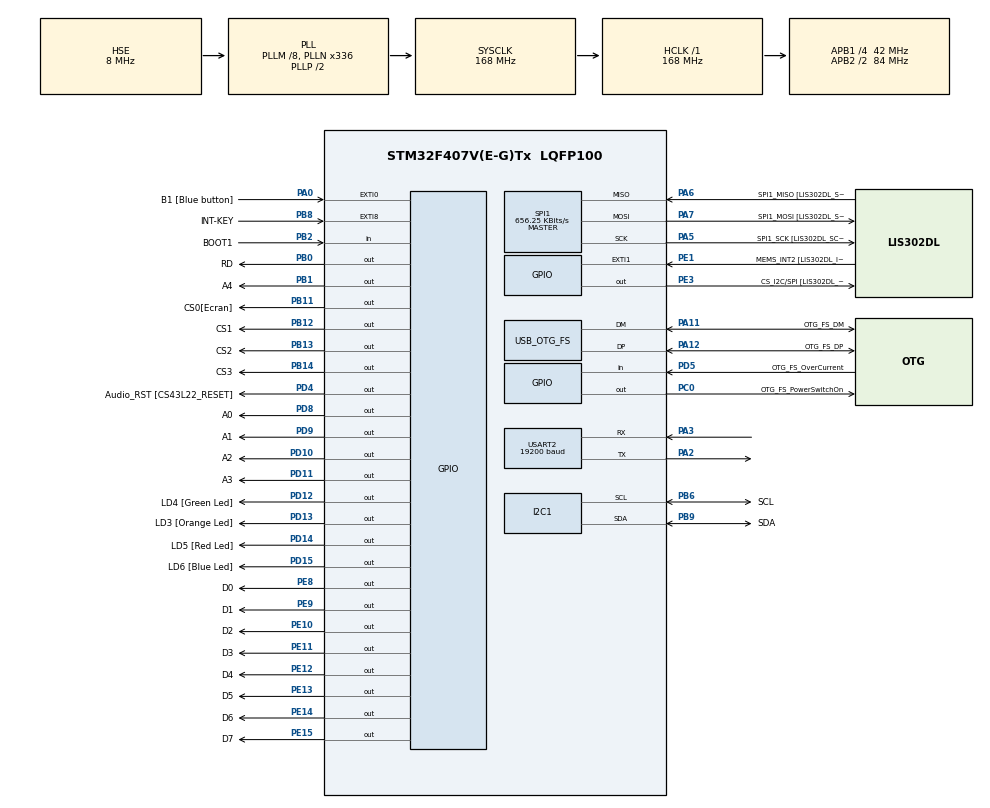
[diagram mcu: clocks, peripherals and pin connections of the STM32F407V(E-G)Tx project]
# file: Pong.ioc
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Mcu.Family=STM32F4
Mcu.Name=STM32F407V(E-G)Tx
Mcu.Package=LQFP100
NVIC.EXTI0_IRQn=true\:0\:0\:false\:false\:true\:true
NVIC.EXTI9_5_IRQn=true\:0\:0\:false\:false\:true\:true
NVIC.OTG_FS_IRQn=true\:0\:0\:false\:false\:true\:true
NVIC.PriorityGroup=NVIC_PRIORITYGROUP_0
PA0-WKUP.GPIO_Label=B1 [Blue button]
PA0-WKUP.Signal=GPXTI0
PA10.GPIO_Label=OTG_FS_ID
PA10.GPIO_Mode=GPIO_MODE_AF_PP
PA10.GPIO_PuPd=GPIO_NOPULL
PA10.GPIO_Speed=GPIO_SPEED_FREQ_LOW
PA10.Signal=USB_OTG_FS_ID
PA11.GPIO_Label=OTG_FS_DM
PA11.GPIO_Mode=GPIO_MODE_AF_PP
PA11.GPIO_PuPd=GPIO_NOPULL
PA11.GPIO_Speed=GPIO_SPEED_FREQ_LOW
PA11.Mode=Device_Only
PA11.Signal=USB_OTG_FS_DM
PA12.GPIO_Label=OTG_FS_DP
PA12.GPIO_Mode=GPIO_MODE_AF_PP
PA12.GPIO_PuPd=GPIO_NOPULL
PA12.GPIO_Speed=GPIO_SPEED_FREQ_LOW
PA12.Mode=Device_Only
PA12.Signal=USB_OTG_FS_DP
PA13.GPIO_Label=SWDIO
PA13.Mode=Trace_Asynchronous_SW
PA13.Signal=SYS_JTMS-SWDIO
PA14.GPIO_Label=SWCLK
PA14.Mode=Trace_Asynchronous_SW
PA14.Signal=SYS_JTCK-SWCLK
PA2.Mode=Asynchronous
PA2.Signal=USART2_TX
PA3.Mode=Asynchronous
PA3.Signal=USART2_RX
PA4.GPIO_Label=I2S3_WS [CS43L22_LRCK]
PA4.GPIO_Mode=GPIO_MODE_AF_PP
PA4.GPIO_PuPd=GPIO_NOPULL
PA4.GPIO_Speed=GPIO_SPEED_FREQ_LOW
PA4.Signal=I2S3_WS
PA5.GPIO_Label=SPI1_SCK [LIS302DL_SCL/SPC]
PA5.GPIO_Mode=GPIO_MODE_AF_PP
PA5.GPIO_PuPd=GPIO_NOPULL
PA5.GPIO_Speed=GPIO_SPEED_FREQ_LOW
PA5.Mode=Full_Duplex_Master
PA5.Signal=SPI1_SCK
PA6.GPIO_Label=SPI1_MISO [LIS302DL_SDO]
PA6.GPIO_Mode=GPIO_MODE_AF_PP
PA6.GPIO_PuPd=GPIO_NOPULL
PA6.GPIO_Speed=GPIO_SPEED_FREQ_LOW
PA6.Mode=Full_Duplex_Master
PA6.Signal=SPI1_MISO
PA7.GPIO_Label=SPI1_MOSI [LIS302DL_SDA/SDI/SDO]
PA7.GPIO_Mode=GPIO_MODE_AF_PP
PA7.GPIO_PuPd=GPIO_NOPULL
PA7.GPIO_Speed=GPIO_SPEED_FREQ_LOW
PA7.Mode=Full_Duplex_Master
PA7.Signal=SPI1_MOSI
PA9.GPIO_Label=VBUS_FS
PA9.GPIO_Mode=GPIO_MODE_INPUT
PA9.GPIO_PuPd=GPIO_NOPULL
PA9.Signal=USB_OTG_FS_VBUS
PB0.GPIO_Label=RD
PB0.Signal=GPIO_Output
PB1.GPIO_Label=A4
PB1.Signal=GPIO_Output
PB10.GPIO_Label=CLK_IN [MP45DT02_CLK]
PB10.GPIO_Mode=GPIO_MODE_AF_PP
PB10.GPIO_PuPd=GPIO_NOPULL
PB10.GPIO_Speed=GPIO_SPEED_FREQ_LOW
PB10.Signal=I2S2_CK
PB11.GPIO_Label=CS0[Ecran]
PB11.Signal=GPIO_Output
PB12.GPIO_Label=CS1
PB12.Signal=GPIO_Output
PB13.GPIO_Label=CS2
PB13.Signal=GPIO_Output
PB14.GPIO_Label=CS3
PB14.Signal=GPIO_Output
PB2.GPIO_Label=BOOT1
PB2.GPIO_Mode=GPIO_MODE_INPUT
PB2.GPIO_PuPd=GPIO_NOPULL
PB2.Signal=GPIO_Input
PB3.GPIO_Label=SWO
PB3.Mode=Trace_Asynchronous_SW
PB3.Signal=SYS_JTDO-SWO
PB6.GPIO_Label=SCL
PB6.GPIO_Mode=GPIO_MODE_AF_OD
PB6.GPIO_PuPd=GPIO_NOPULL
PB6.GPIO_Speed=GPIO_SPEED_FREQ_LOW
PB6.Mode=I2C
PB6.Signal=I2C1_SCL
PB8.GPIO_Label=INT-KEY
PB8.Signal=GPXTI8
PB9.GPIO_Label=SDA
PB9.GPIO_Mode=GPIO_MODE_AF_OD
PB9.GPIO_PuPd=GPIO_NOPULL
PB9.GPIO_Speed=GPIO_SPEED_FREQ_LOW
PB9.Mode=I2C
PB9.Signal=I2C1_SDA
PC0.GPIO_Label=OTG_FS_PowerSwitchOn
PC0.GPIO_PuPd=GPIO_NOPULL
PC0.GPIO_Speed=GPIO_SPEED_FREQ_LOW
PC0.PinState=GPIO_PIN_SET
PC0.Signal=GPIO_Output
PC10.GPIO_Label=I2S3_SCK [CS43L22_SCLK]
PC10.GPIO_Mode=GPIO_MODE_AF_PP
PC10.GPIO_PuPd=GPIO_NOPULL
PC10.GPIO_Speed=GPIO_SPEED_FREQ_LOW
PC10.Signal=I2S3_CK
PC12.GPIO_Label=I2S3_SD [CS43L22_SDIN]
PC12.GPIO_Mode=GPIO_MODE_AF_PP
PC12.GPIO_PuPd=GPIO_NOPULL
PC12.GPIO_Speed=GPIO_SPEED_FREQ_LOW
PC12.Signal=I2S3_SD
PC14-OSC32_IN.GPIO_Label=PC14-OSC32_IN
PC14-OSC32_IN.Signal=RCC_OSC32_IN
PC15-OSC32_OUT.GPIO_Label=PC15-OSC32_OUT
PC15-OSC32_OUT.Signal=RCC_OSC32_OUT
PC3.GPIO_Label=PDM_OUT [MP45DT02_DOUT]
PC3.GPIO_Mode=GPIO_MODE_AF_PP
PC3.GPIO_PuPd=GPIO_NOPULL
PC3.GPIO_Speed=GPIO_SPEED_FREQ_LOW
PC3.Signal=I2S2_SD
PC7.GPIO_Label=I2S3_MCK [CS43L22_MCLK]
PC7.GPIO_Mode=GPIO_MODE_AF_PP
PC7.GPIO_PuPd=GPIO_NOPULL
PC7.GPIO_Speed=GPIO_SPEED_FREQ_LOW
PC7.Signal=I2S3_MCK
PD10.GPIO_Label=A2
PD10.Signal=GPIO_Output
PD11.GPIO_Label=A3
PD11.Signal=GPIO_Output
PD12.GPIO_Label=LD4 [Green Led]
PD12.GPIO_PuPd=GPIO_NOPULL
PD12.GPIO_Speed=GPIO_SPEED_FREQ_LOW
PD12.Signal=GPIO_Output
PD13.GPIO_Label=LD3 [Orange Led]
PD13.GPIO_PuPd=GPIO_NOPULL
PD13.GPIO_Speed=GPIO_SPEED_FREQ_LOW
PD13.Signal=GPIO_Output
PD14.GPIO_Label=LD5 [Red Led]
PD14.GPIO_PuPd=GPIO_NOPULL
PD14.GPIO_Speed=GPIO_SPEED_FREQ_LOW
PD14.Signal=GPIO_Output
PD15.GPIO_Label=LD6 [Blue Led]
PD15.GPIO_PuPd=GPIO_NOPULL
PD15.GPIO_Speed=GPIO_SPEED_FREQ_LOW
PD15.Signal=GPIO_Output
PD4.GPIO_Label=Audio_RST [CS43L22_RESET]
PD4.GPIO_PuPd=GPIO_NOPULL
PD4.GPIO_Speed=GPIO_SPEED_FREQ_LOW
PD4.Signal=GPIO_Output
PD5.GPIO_Label=OTG_FS_OverCurrent
PD5.GPIO_Mode=GPIO_MODE_INPUT
PD5.GPIO_PuPd=GPIO_NOPULL
PD5.Signal=GPIO_Input
PD8.GPIO_Label=A0
PD8.Signal=GPIO_Output
PD9.GPIO_Label=A1
PD9.Signal=GPIO_Output
PE1.GPIO_Label=MEMS_INT2 [LIS302DL_INT2]
PE1.GPIO_ModeDefaultEXTI=GPIO_MODE_EVT_RISING
PE1.GPIO_PuPd=GPIO_NOPULL
PE1.Signal=GPXTI1
PE10.GPIO_Label=D2
PE10.Signal=GPIO_Output
PE11.GPIO_Label=D3
PE11.Signal=GPIO_Output
PE12.GPIO_Label=D4
PE12.Signal=GPIO_Output
PE13.GPIO_Label=D5
PE13.Signal=GPIO_Output
PE14.GPIO_Label=D6
PE14.Signal=GPIO_Output
PE15.GPIO_Label=D7
PE15.Signal=GPIO_Output
PE3.GPIO_Label=CS_I2C/SPI [LIS302DL_CS_I2C/SPI]
PE3.GPIO_PuPd=GPIO_NOPULL
PE3.GPIO_Speed=GPIO_SPEED_FREQ_LOW
PE3.Signal=GPIO_Output
PE8.GPIO_Label=D0
PE8.Signal=GPIO_Output
PE9.GPIO_Label=D1
PE9.Signal=GPIO_Output
PH0-OSC_IN.GPIO_Label=PH0-OSC_IN
PH0-OSC_IN.Mode=HSE-External-Oscillator
PH0-OSC_IN.Signal=RCC_OSC_IN
PH1-OSC_OUT.GPIO_Label=PH1-OSC_OUT
PH1-OSC_OUT.Mode=HSE-External-Oscillator
PH1-OSC_OUT.Signal=RCC_OSC_OUT
ProjectManager.HeapSize=0x200
ProjectManager.StackSize=0x400
ProjectManager.TargetToolchain=EWARM
RCC.48MHZClocksFreq_Value=48000000
RCC.AHBFreq_Value=168000000
RCC.APB1CLKDivider=RCC_HCLK_DIV4
RCC.APB1Freq_Value=42000000
RCC.APB1TimFreq_Value=84000000
RCC.APB2CLKDivider=RCC_HCLK_DIV2
RCC.APB2Freq_Value=84000000
RCC.APB2TimFreq_Value=168000000
RCC.CortexFreq_Value=168000000
RCC.HCLKFreq_Value=168000000
RCC.HSE_VALUE=8000000
RCC.HSI_VALUE=16000000
RCC.LSE_VALUE=32768
RCC.PLLM=8
RCC.PLLN=336
RCC.PLLQ=7
RCC.SYSCLKFreq_VALUE=168000000
RCC.SYSCLKSource=RCC_SYSCLKSOURCE_PLLCLK
RCC.VCOOutputFreq_Value=336000000
SPI1.BaudRatePrescaler=SPI_BAUDRATEPRESCALER_128
SPI1.BaudRatePrescaler-Full_Duplex_Master=SPI_BAUDRATEPRESCALER_2
SPI1.CalculateBaudRate=656.25 KBits/s
SPI1.CalculateBaudRate-Full_Duplex_Master=42.0 MBits/s
SPI1.Direction=SPI_DIRECTION_2LINES
SPI1.Mode=SPI_MODE_MASTER
SPI1.Mode-Full_Duplex_Master=SPI_MODE_MASTER
SPI1.VirtualType=VM_MASTER
USART2.BaudRate=19200
USART2.VirtualMode=VM_ASYNC
USB_DEVICE.CLASS_NAME_FS=CDC
USB_DEVICE.VirtualMode-CDC_FS=Cdc
USB_DEVICE.VirtualModeFS=Cdc_FS
USB_OTG_FS.VirtualMode=Device_Only
VP_RNG_VS_RNG.Mode=RNG_Activate
VP_USB_DEVICE_VS_USB_DEVICE_CDC_FS.Mode=CDC_FS
board=STM32F4DISCOVERY

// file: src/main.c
/**
  ******************************************************************************
  * @file           : main.c
  * @brief          : Main program body
  ******************************************************************************
  * This notice applies to any and all portions of this file
  * that are not between comment pairs USER CODE BEGIN and
  * USER CODE END. Other portions of this file, whether
  * inserted by the user or by software development tools
  * are owned by their respective copyright owners.
  *
  * Copyright (c) 2018 STMicroelectronics International N.V.
  * All rights reserved.
  *
  * Redistribution and use in source and binary forms, with or without
  * modification, are permitted, provided that the following conditions are met:
  *
  * 1. Redistribution of source code must retain the above copyright notice,
  *    this list of conditions and the following disclaimer.
  * 2. Redistributions in binary form must reproduce the above copyright notice,
  *    this list of conditions and the following disclaimer in the documentation
  *    and/or other materials provided with the distribution.
  * 3. Neither the name of STMicroelectronics nor the names of other
  *    contributors to this software may be used to endorse or promote products
  *    derived from this software without specific written permission.
  * 4. This software, including modifications and/or derivative works of this
  *    software, must execute solely and exclusively on microcontroller or
  *    microprocessor devices manufactured by or for STMicroelectronics.
  * 5. Redistribution and use of this software other than as permitted under
  *    this license is void and will automatically terminate your rights under
  *    this license.
  *
  * THIS SOFTWARE IS PROVIDED BY STMICROELECTRONICS AND CONTRIBUTORS "AS IS"
  * AND ANY EXPRESS, IMPLIED OR STATUTORY WARRANTIES, INCLUDING, BUT NOT
  * LIMITED TO, THE IMPLIED WARRANTIES OF MERCHANTABILITY, FITNESS FOR A
  * PARTICULAR PURPOSE AND NON-INFRINGEMENT OF THIRD PARTY INTELLECTUAL PROPERTY
  * RIGHTS ARE DISCLAIMED TO THE FULLEST EXTENT PERMITTED BY LAW. IN NO EVENT
  * SHALL STMICROELECTRONICS OR CONTRIBUTORS BE LIABLE FOR ANY DIRECT, INDIRECT,
  * INCIDENTAL, SPECIAL, EXEMPLARY, OR CONSEQUENTIAL DAMAGES (INCLUDING, BUT NOT
  * LIMITED TO, PROCUREMENT OF SUBSTITUTE GOODS OR SERVICES; LOSS OF USE, DATA,
  * OR PROFITS; OR BUSINESS INTERRUPTION) HOWEVER CAUSED AND ON ANY THEORY OF
  * LIABILITY, WHETHER IN CONTRACT, STRICT LIABILITY, OR TORT (INCLUDING
  * NEGLIGENCE OR OTHERWISE) ARISING IN ANY WAY OUT OF THE USE OF THIS SOFTWARE,
  * EVEN IF ADVISED OF THE POSSIBILITY OF SUCH DAMAGE.
  *
  ******************************************************************************
  */
#include "main.h"
#include "stm32f4xx_hal.h"
#include "usb_device.h"

/* USER CODE BEGIN Includes */
#include "GLcd.h"
#include "GLcd2.h"
#include "IO_BUS.h"
#include "Physics.h"
#include "LIS3DSH.h"
#include <stdio.h>
/* USER CODE END Includes */

I2C_HandleTypeDef hi2c1;

RNG_HandleTypeDef hrng;

SPI_HandleTypeDef hspi1;

UART_HandleTypeDef huart2;

/* USER CODE BEGIN PV */
/* Private variables ---------------------------------------------------------*/

/* USER CODE END PV */

void SystemClock_Config(void);
static void MX_GPIO_Init(void);
static void MX_I2C1_Init(void);
static void MX_SPI1_Init(void);
static void MX_USART2_UART_Init(void);
static void MX_RNG_Init(void);

/* USER CODE BEGIN PFP */
/* Private function prototypes -----------------------------------------------*/

/* USER CODE END PFP */

/* USER CODE BEGIN 0 */
uint8_t isPushed = 1;
/* USER CODE END 0 */

int main(void)
{
  /* USER CODE BEGIN 1 */
  float fBall_Pos_X = 63;
  float fBall_Pos_Y = 32;
  float fPaddle_L_Pos_X = 3;
  float fPaddle_L_Pos_Y = PADDLE_DEFAULT_Y;
  float fPaddle_R_Pos_X = 124;
  float fPaddle_R_Pos_Y = PADDLE_DEFAULT_Y;

  float fBall_Vec_X = 0;
  float fBall_Vec_Y = 0;
  float fPaddle_L_Vec_Y = 0;
  float fPaddle_R_Vec_Y = 0;
  float fData_Y_Offset  = 0;
  float fData_Y = 0;

  uint8_t ucBall_Status = BALL_OK;

  uint8_t ucScore_Joueur_Droite = 0;
  uint8_t ucScore_Joueur_Gauche = 0;

  int8_t c_a_Score[9];

  /* USER CODE END 1 */

  /* MCU Configuration----------------------------------------------------------*/

  /* Reset of all peripherals, Initializes the Flash interface and the Systick. */
  HAL_Init();

  /* Configure the system clock */
  SystemClock_Config();

  /* Initialize all configured peripherals */
  MX_GPIO_Init();
  MX_I2C1_Init();
  MX_SPI1_Init();
  MX_USART2_UART_Init();
  MX_USB_DEVICE_Init();
  MX_RNG_Init();
  /* USER CODE BEGIN 2 */
  vInitGLcd();
  vLIS3DSHEcrire(LIS3DSH_Reg_Ctrl_4, 0x63);
  vLIS3DSHEcrire(LIS3DSH_Reg_Ctrl_5, 0xD8);

  vStartScreen();

  HAL_Delay(1000);
  vInfoScreen();

  HAL_Delay(1000);
  vClearGLcd(0x00);

  vDrawCircleGLcd((uint8_t)fBall_Pos_X, (uint8_t) fBall_Pos_Y, 3);
  vDrawLineGLcd((uint8_t)fPaddle_L_Pos_X,(uint8_t) fPaddle_L_Pos_Y, PADDLE_SIZE, 'V');
  vDrawLineGLcd((uint8_t)fPaddle_R_Pos_X,(uint8_t) fPaddle_R_Pos_Y, PADDLE_SIZE, 'V');
  vStartVector(&fBall_Vec_X, &fBall_Vec_Y);
  HAL_UART_Transmit(&huart2, (uint8_t*) "\n\r", 2, 100);
  /* USER CODE END 2 */

  /* Infinite loop */
  while (1)
  {

  /* USER CODE BEGIN 3 */
    if(isPushed)
    {
      isPushed = 0;
      fData_Y_Offset = fLIS3DSHLireSortieY(LIS3DSH_Sense_8g);
    }

    vRemoveCircleGLcd((uint8_t)fBall_Pos_X, (uint8_t)fBall_Pos_Y, 3);
    vRemoveLineGLcd((uint8_t)fPaddle_L_Pos_X, (uint8_t)fPaddle_L_Pos_Y, PADDLE_SIZE, 'V');
    vRemoveLineGLcd((uint8_t)fPaddle_R_Pos_X, (uint8_t)fPaddle_R_Pos_Y, PADDLE_SIZE, 'V');

    fData_Y = fLIS3DSHLireSortieY(LIS3DSH_Sense_8g) - fData_Y_Offset;

//    if((fData_Y > 0.2f) || (fData_Y < -0.2f))
//    {
      //fPaddle_L_Vec_Y = (fData_Y * 10);
      vAI(fBall_Pos_X, fBall_Pos_Y, fPaddle_L_Pos_Y, &fPaddle_L_Vec_Y, 50, 'G');
      fPaddle_L_Pos_Y += fPaddle_L_Vec_Y;
      if(fPaddle_L_Pos_Y < 0)
        fPaddle_L_Pos_Y = 0;
      else if(fPaddle_L_Pos_Y + PADDLE_SIZE > 63)
        fPaddle_L_Pos_Y = 63 - PADDLE_SIZE;
//    }

    vAI(fBall_Pos_X, fBall_Pos_Y, fPaddle_R_Pos_Y, &fPaddle_R_Vec_Y, 70, 'D');

    fPaddle_R_Pos_Y += fPaddle_R_Vec_Y;
    if(fPaddle_R_Pos_Y < 0)
      fPaddle_R_Pos_Y = 0;
    else if(fPaddle_R_Pos_Y + PADDLE_SIZE > 63)
      fPaddle_R_Pos_Y = 63 - PADDLE_SIZE;

    do {
      fBall_Pos_X += fBall_Vec_X;
      fBall_Pos_Y += fBall_Vec_Y;

      ucBall_Status = ucCheckIsBallOK(&fBall_Pos_X, &fBall_Pos_Y, &fPaddle_L_Pos_Y, &fPaddle_R_Pos_Y, &fPaddle_L_Vec_Y, &fPaddle_R_Vec_Y, &fBall_Vec_X, &fBall_Vec_Y);
      if((ucBall_Status == BUT_J_DROIT) || (ucBall_Status == BUT_J_GAUCHE))
      {
        if(ucBall_Status == BUT_J_DROIT)
          ucScore_Joueur_Droite++;
        else if(ucBall_Status == BUT_J_GAUCHE)
          ucScore_Joueur_Gauche++;

//        sprintf(c_a_Score, "%d %d", ucScore_Joueur_Droite, ucScore_Joueur_Gauche);
//        vPutArrayGLcd(c_a_Score, 7, 30, 0);
        HAL_Delay(1000);
      }
    } while(ucBall_Status != BALL_OK);
    ucBall_Status = BALL_NOT_TESTED;

    vDrawCircleGLcd((uint8_t)fBall_Pos_X, (uint8_t) fBall_Pos_Y, 3);
    vDrawLineGLcd((uint8_t)fPaddle_L_Pos_X,(uint8_t) fPaddle_L_Pos_Y, PADDLE_SIZE, 'V');
    vDrawLineGLcd((uint8_t)fPaddle_R_Pos_X,(uint8_t) fPaddle_R_Pos_Y, PADDLE_SIZE, 'V');

    HAL_Delay(35);
  }
  /* USER CODE END 3 */

}

void SystemClock_Config(void)
{

  RCC_OscInitTypeDef RCC_OscInitStruct;
  RCC_ClkInitTypeDef RCC_ClkInitStruct;

    /**Configure the main internal regulator output voltage
    */
  __HAL_RCC_PWR_CLK_ENABLE();

  __HAL_PWR_VOLTAGESCALING_CONFIG(PWR_REGULATOR_VOLTAGE_SCALE1);

    /**Initializes the CPU, AHB and APB busses clocks
    */
  RCC_OscInitStruct.OscillatorType = RCC_OSCILLATORTYPE_HSE;
  RCC_OscInitStruct.HSEState = RCC_HSE_ON;
  RCC_OscInitStruct.PLL.PLLState = RCC_PLL_ON;
  RCC_OscInitStruct.PLL.PLLSource = RCC_PLLSOURCE_HSE;
  RCC_OscInitStruct.PLL.PLLM = 8;
  RCC_OscInitStruct.PLL.PLLN = 336;
  RCC_OscInitStruct.PLL.PLLP = RCC_PLLP_DIV2;
  RCC_OscInitStruct.PLL.PLLQ = 7;
  if (HAL_RCC_OscConfig(&RCC_OscInitStruct) != HAL_OK)
  {
    _Error_Handler(__FILE__, __LINE__);
  }

    /**Initializes the CPU, AHB and APB busses clocks
    */
  RCC_ClkInitStruct.ClockType = RCC_CLOCKTYPE_HCLK|RCC_CLOCKTYPE_SYSCLK
                              |RCC_CLOCKTYPE_PCLK1|RCC_CLOCKTYPE_PCLK2;
  RCC_ClkInitStruct.SYSCLKSource = RCC_SYSCLKSOURCE_PLLCLK;
  RCC_ClkInitStruct.AHBCLKDivider = RCC_SYSCLK_DIV1;
  RCC_ClkInitStruct.APB1CLKDivider = RCC_HCLK_DIV4;
  RCC_ClkInitStruct.APB2CLKDivider = RCC_HCLK_DIV2;

  if (HAL_RCC_ClockConfig(&RCC_ClkInitStruct, FLASH_LATENCY_5) != HAL_OK)
  {
    _Error_Handler(__FILE__, __LINE__);
  }

    /**Configure the Systick interrupt time
    */
  HAL_SYSTICK_Config(HAL_RCC_GetHCLKFreq()/1000);

    /**Configure the Systick
    */
  HAL_SYSTICK_CLKSourceConfig(SYSTICK_CLKSOURCE_HCLK);

  /* SysTick_IRQn interrupt configuration */
  HAL_NVIC_SetPriority(SysTick_IRQn, 0, 0);
}

/* I2C1 init function */
static void MX_I2C1_Init(void)
{

  hi2c1.Instance = I2C1;
  hi2c1.Init.ClockSpeed = 100000;
  hi2c1.Init.DutyCycle = I2C_DUTYCYCLE_2;
  hi2c1.Init.OwnAddress1 = 0;
  hi2c1.Init.AddressingMode = I2C_ADDRESSINGMODE_7BIT;
  hi2c1.Init.DualAddressMode = I2C_DUALADDRESS_DISABLE;
  hi2c1.Init.OwnAddress2 = 0;
  hi2c1.Init.GeneralCallMode = I2C_GENERALCALL_DISABLE;
  hi2c1.Init.NoStretchMode = I2C_NOSTRETCH_DISABLE;
  if (HAL_I2C_Init(&hi2c1) != HAL_OK)
  {
    _Error_Handler(__FILE__, __LINE__);
  }

}

/* RNG init function */
static void MX_RNG_Init(void)
{

  hrng.Instance = RNG;
  if (HAL_RNG_Init(&hrng) != HAL_OK)
  {
    _Error_Handler(__FILE__, __LINE__);
  }

}

/* SPI1 init function */
static void MX_SPI1_Init(void)
{

  /* SPI1 parameter configuration*/
  hspi1.Instance = SPI1;
  hspi1.Init.Mode = SPI_MODE_MASTER;
  hspi1.Init.Direction = SPI_DIRECTION_2LINES;
  hspi1.Init.DataSize = SPI_DATASIZE_8BIT;
  hspi1.Init.CLKPolarity = SPI_POLARITY_LOW;
  hspi1.Init.CLKPhase = SPI_PHASE_1EDGE;
  hspi1.Init.NSS = SPI_NSS_SOFT;
  hspi1.Init.BaudRatePrescaler = SPI_BAUDRATEPRESCALER_128;
  hspi1.Init.FirstBit = SPI_FIRSTBIT_MSB;
  hspi1.Init.TIMode = SPI_TIMODE_DISABLE;
  hspi1.Init.CRCCalculation = SPI_CRCCALCULATION_DISABLE;
  hspi1.Init.CRCPolynomial = 10;
  if (HAL_SPI_Init(&hspi1) != HAL_OK)
  {
    _Error_Handler(__FILE__, __LINE__);
  }

}

/* USART2 init function */
static void MX_USART2_UART_Init(void)
{

  huart2.Instance = USART2;
  huart2.Init.BaudRate = 19200;
  huart2.Init.WordLength = UART_WORDLENGTH_8B;
  huart2.Init.StopBits = UART_STOPBITS_1;
  huart2.Init.Parity = UART_PARITY_NONE;
  huart2.Init.Mode = UART_MODE_TX_RX;
  huart2.Init.HwFlowCtl = UART_HWCONTROL_NONE;
  huart2.Init.OverSampling = UART_OVERSAMPLING_16;
  if (HAL_UART_Init(&huart2) != HAL_OK)
  {
    _Error_Handler(__FILE__, __LINE__);
  }

}

/** Configure pins as
        * Analog
        * Input
        * Output
        * EVENT_OUT
        * EXTI
     PC3   ------> I2S2_SD
     PA4   ------> I2S3_WS
     PB10   ------> I2S2_CK
     PC7   ------> I2S3_MCK
     PC10   ------> I2S3_CK
     PC12   ------> I2S3_SD
*/
static void MX_GPIO_Init(void)
{

  GPIO_InitTypeDef GPIO_InitStruct;

  /* GPIO Ports Clock Enable */
  __HAL_RCC_GPIOE_CLK_ENABLE();
  __HAL_RCC_GPIOC_CLK_ENABLE();
  __HAL_RCC_GPIOH_CLK_ENABLE();
  __HAL_RCC_GPIOA_CLK_ENABLE();
  __HAL_RCC_GPIOB_CLK_ENABLE();
  __HAL_RCC_GPIOD_CLK_ENABLE();

  /*Configure GPIO pin Output Level */
  HAL_GPIO_WritePin(GPIOE, CS_I2C_SPI_Pin|D0_Pin|D1_Pin|D2_Pin
                          |D3_Pin|D4_Pin|D5_Pin|D6_Pin
                          |D7_Pin, GPIO_PIN_RESET);

  /*Configure GPIO pin Output Level */
  HAL_GPIO_WritePin(OTG_FS_PowerSwitchOn_GPIO_Port, OTG_FS_PowerSwitchOn_Pin, GPIO_PIN_SET);

  /*Configure GPIO pin Output Level */
  HAL_GPIO_WritePin(GPIOB, RD_Pin|A4_Pin|CS0_Pin|CS1_Pin
                          |CS2_Pin|CS3_Pin, GPIO_PIN_RESET);

  /*Configure GPIO pin Output Level */
  HAL_GPIO_WritePin(GPIOD, A0_Pin|A1_Pin|A2_Pin|A3_Pin
                          |LD4_Pin|LD3_Pin|LD5_Pin|LD6_Pin
                          |Audio_RST_Pin, GPIO_PIN_RESET);

  /*Configure GPIO pins : CS_I2C_SPI_Pin D0_Pin D1_Pin D2_Pin
                           D3_Pin D4_Pin D5_Pin D6_Pin
                           D7_Pin */
  GPIO_InitStruct.Pin = CS_I2C_SPI_Pin|D0_Pin|D1_Pin|D2_Pin
                          |D3_Pin|D4_Pin|D5_Pin|D6_Pin
                          |D7_Pin;
  GPIO_InitStruct.Mode = GPIO_MODE_OUTPUT_PP;
  GPIO_InitStruct.Pull = GPIO_NOPULL;
  GPIO_InitStruct.Speed = GPIO_SPEED_FREQ_LOW;
  HAL_GPIO_Init(GPIOE, &GPIO_InitStruct);

  /*Configure GPIO pin : OTG_FS_PowerSwitchOn_Pin */
  GPIO_InitStruct.Pin = OTG_FS_PowerSwitchOn_Pin;
  GPIO_InitStruct.Mode = GPIO_MODE_OUTPUT_PP;
  GPIO_InitStruct.Pull = GPIO_NOPULL;
  GPIO_InitStruct.Speed = GPIO_SPEED_FREQ_LOW;
  HAL_GPIO_Init(OTG_FS_PowerSwitchOn_GPIO_Port, &GPIO_InitStruct);

  /*Configure GPIO pin : PDM_OUT_Pin */
  GPIO_InitStruct.Pin = PDM_OUT_Pin;
  GPIO_InitStruct.Mode = GPIO_MODE_AF_PP;
  GPIO_InitStruct.Pull = GPIO_NOPULL;
  GPIO_InitStruct.Speed = GPIO_SPEED_FREQ_LOW;
  GPIO_InitStruct.Alternate = GPIO_AF5_SPI2;
  HAL_GPIO_Init(PDM_OUT_GPIO_Port, &GPIO_InitStruct);

  /*Configure GPIO pin : B1_Pin */
  GPIO_InitStruct.Pin = B1_Pin;
  GPIO_InitStruct.Mode = GPIO_MODE_IT_RISING;
  GPIO_InitStruct.Pull = GPIO_NOPULL;
  HAL_GPIO_Init(B1_GPIO_Port, &GPIO_InitStruct);

  /*Configure GPIO pin : I2S3_WS_Pin */
  GPIO_InitStruct.Pin = I2S3_WS_Pin;
  GPIO_InitStruct.Mode = GPIO_MODE_AF_PP;
  GPIO_InitStruct.Pull = GPIO_NOPULL;
  GPIO_InitStruct.Speed = GPIO_SPEED_FREQ_LOW;
  GPIO_InitStruct.Alternate = GPIO_AF6_SPI3;
  HAL_GPIO_Init(I2S3_WS_GPIO_Port, &GPIO_InitStruct);

  /*Configure GPIO pins : RD_Pin A4_Pin CS0_Pin CS1_Pin
                           CS2_Pin CS3_Pin */
  GPIO_InitStruct.Pin = RD_Pin|A4_Pin|CS0_Pin|CS1_Pin
                          |CS2_Pin|CS3_Pin;
  GPIO_InitStruct.Mode = GPIO_MODE_OUTPUT_PP;
  GPIO_InitStruct.Pull = GPIO_NOPULL;
  GPIO_InitStruct.Speed = GPIO_SPEED_FREQ_LOW;
  HAL_GPIO_Init(GPIOB, &GPIO_InitStruct);

  /*Configure GPIO pin : BOOT1_Pin */
  GPIO_InitStruct.Pin = BOOT1_Pin;
  GPIO_InitStruct.Mode = GPIO_MODE_INPUT;
  GPIO_InitStruct.Pull = GPIO_NOPULL;
  HAL_GPIO_Init(BOOT1_GPIO_Port, &GPIO_InitStruct);

  /*Configure GPIO pin : CLK_IN_Pin */
  GPIO_InitStruct.Pin = CLK_IN_Pin;
  GPIO_InitStruct.Mode = GPIO_MODE_AF_PP;
  GPIO_InitStruct.Pull = GPIO_NOPULL;
  GPIO_InitStruct.Speed = GPIO_SPEED_FREQ_LOW;
  GPIO_InitStruct.Alternate = GPIO_AF5_SPI2;
  HAL_GPIO_Init(CLK_IN_GPIO_Port, &GPIO_InitStruct);

  /*Configure GPIO pins : A0_Pin A1_Pin A2_Pin A3_Pin
                           LD4_Pin LD3_Pin LD5_Pin LD6_Pin
                           Audio_RST_Pin */
  GPIO_InitStruct.Pin = A0_Pin|A1_Pin|A2_Pin|A3_Pin
                          |LD4_Pin|LD3_Pin|LD5_Pin|LD6_Pin
                          |Audio_RST_Pin;
  GPIO_InitStruct.Mode = GPIO_MODE_OUTPUT_PP;
  GPIO_InitStruct.Pull = GPIO_NOPULL;
  GPIO_InitStruct.Speed = GPIO_SPEED_FREQ_LOW;
  HAL_GPIO_Init(GPIOD, &GPIO_InitStruct);

  /*Configure GPIO pins : I2S3_MCK_Pin I2S3_SCK_Pin I2S3_SD_Pin */
  GPIO_InitStruct.Pin = I2S3_MCK_Pin|I2S3_SCK_Pin|I2S3_SD_Pin;
  GPIO_InitStruct.Mode = GPIO_MODE_AF_PP;
  GPIO_InitStruct.Pull = GPIO_NOPULL;
  GPIO_InitStruct.Speed = GPIO_SPEED_FREQ_LOW;
  GPIO_InitStruct.Alternate = GPIO_AF6_SPI3;
  HAL_GPIO_Init(GPIOC, &GPIO_InitStruct);

  /*Configure GPIO pin : OTG_FS_OverCurrent_Pin */
  GPIO_InitStruct.Pin = OTG_FS_OverCurrent_Pin;
  GPIO_InitStruct.Mode = GPIO_MODE_INPUT;
  GPIO_InitStruct.Pull = GPIO_NOPULL;
  HAL_GPIO_Init(OTG_FS_OverCurrent_GPIO_Port, &GPIO_InitStruct);

  /*Configure GPIO pin : INT_KEY_Pin */
  GPIO_InitStruct.Pin = INT_KEY_Pin;
  GPIO_InitStruct.Mode = GPIO_MODE_IT_RISING;
  GPIO_InitStruct.Pull = GPIO_NOPULL;
  HAL_GPIO_Init(INT_KEY_GPIO_Port, &GPIO_InitStruct);

  /*Configure GPIO pin : MEMS_INT2_Pin */
  GPIO_InitStruct.Pin = MEMS_INT2_Pin;
  GPIO_InitStruct.Mode = GPIO_MODE_EVT_RISING;
  GPIO_InitStruct.Pull = GPIO_NOPULL;
  HAL_GPIO_Init(MEMS_INT2_GPIO_Port, &GPIO_InitStruct);

  /* EXTI interrupt init*/
  HAL_NVIC_SetPriority(EXTI0_IRQn, 0, 0);
  HAL_NVIC_EnableIRQ(EXTI0_IRQn);

  HAL_NVIC_SetPriority(EXTI9_5_IRQn, 0, 0);
  HAL_NVIC_EnableIRQ(EXTI9_5_IRQn);

}

void _Error_Handler(char *file, int line)
{
  while(1)
  {
  }
}

/************************ (C) COPYRIGHT STMicroelectronics *****END OF FILE****/
